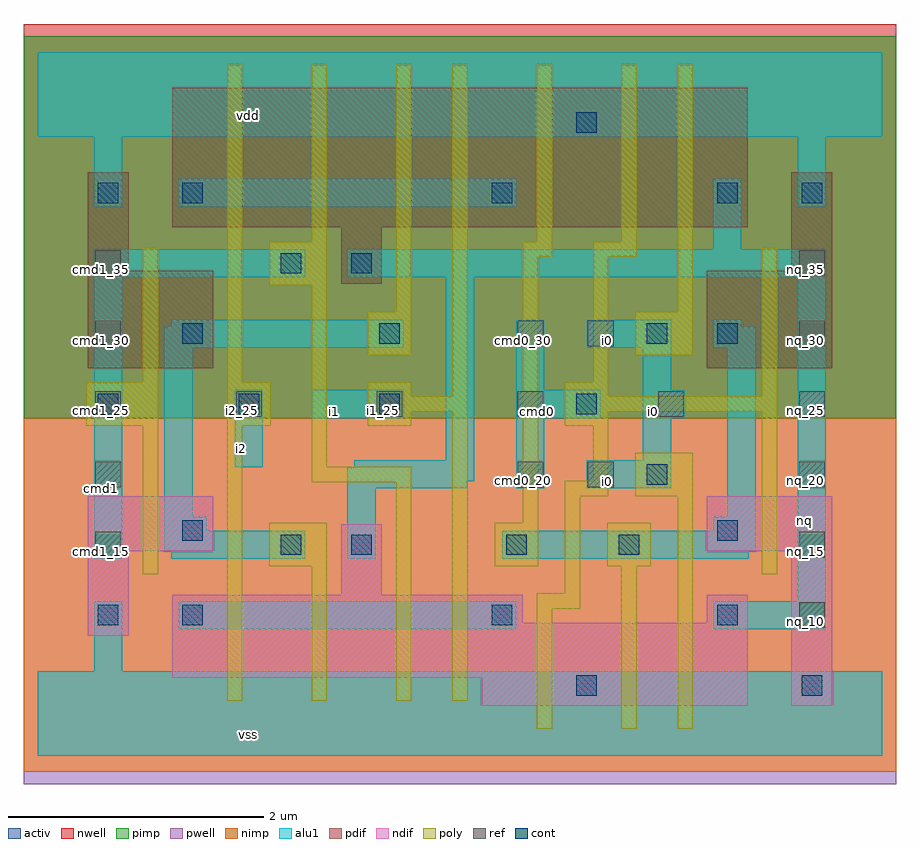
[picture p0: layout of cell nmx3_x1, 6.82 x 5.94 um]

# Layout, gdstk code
import gdstk
lib = gdstk.Library(unit=1e-6, precision=2.5e-09)
def R(c, l, rs):  # rectangles x0, y0, x1, y1
    for r in rs: c.add(gdstk.rectangle(r[:2], r[2:], *l))
def A(c, l, x, y, w, h, nx, ny, dx, dy):  # array of equal rectangles
    R(c, l, [(x+i*dx, y+j*dy, x+i*dx+w, y+j*dy+h) for i in range(nx) for j in range(ny)])
ndif = (3, 0)
pdif = (4, 0)
ref = (24, 0)
cont = (25, 0)
pwell = (41, 0)
nwell = (42, 0)
activ = (43, 0)
pimp = (44, 0)
nimp = (45, 0)
poly = (46, 0)
alu1 = (49, 0)

nmx3_x1 = lib.new_cell('nmx3_x1')
R(nmx3_x1, ndif, [(3.47,0.39,5.55,0.61), (3.47,0.39,5.55,0.61), (5.89,0.39,6.21,1.6), (5.89,0.39,6.21,1.6), (1.05,0.61,5.55,1.04), (1.05,0.61,5.55,1.04), (0.39,0.94,0.71,1.6), (0.39,0.94,0.71,1.6), (1.05,1.04,3.79,1.26), (1.05,1.04,3.79,1.26), (5.23,1.04,5.55,1.26), (5.23,1.04,5.55,1.26), (2.37,1.26,2.69,1.81), (2.37,1.26,2.69,1.81), (0.39,1.6,1.37,2.03), (0.39,1.6,1.37,2.03), (5.23,1.6,6.21,2.03), (5.23,1.6,6.21,2.03)])
R(nmx3_x1, pdif, [(0.39,3.03,1.37,3.79), (0.39,3.03,1.37,3.79), (5.23,3.03,6.21,3.79), (5.23,3.03,6.21,3.79), (2.37,3.69,2.69,4.13), (2.37,3.69,2.69,4.13), (0.39,3.79,0.71,4.56), (0.39,3.79,0.71,4.56), (5.89,3.79,6.21,4.56), (5.89,3.79,6.21,4.56), (1.05,4.13,5.55,5.22), (1.05,4.13,5.55,5.22)])
A(nmx3_x1, ref, 5.95, 1, 0.2, 0.2, 1, 3, 0, 0.55)
A(nmx3_x1, ref, 0.45, 2.65, 0.2, 0.2, 6, 1, 1.1, 0)
R(nmx3_x1, ref, [(0.45,1.55,0.65,1.75), (0.45,2.1,0.65,2.3), (3.75,2.1,3.95,2.3), (4.3,2.1,4.5,2.3), (0.45,3.2,0.65,3.4), (3.75,3.2,3.95,3.4), (4.3,3.2,4.5,3.4), (5.95,3.2,6.15,3.4), (0.45,3.75,0.65,3.95), (5.95,3.75,6.15,3.95)])
A(nmx3_x1, cont, 4.21, 0.47, 0.16, 0.16, 1, 3, 0, 2.2)
A(nmx3_x1, cont, 0.47, 2.67, 0.16, 0.16, 3, 1, 1.1, 0)
R(nmx3_x1, cont, [(5.97,0.47,6.13,0.63), (0.47,1.02,0.63,1.18), (1.13,1.02,1.29,1.18), (3.55,1.02,3.71,1.18), (5.31,1.02,5.47,1.18), (1.9,1.57,2.06,1.73), (2.45,1.57,2.61,1.73), (3.66,1.57,3.82,1.73), (4.54,1.57,4.7,1.73), (1.13,1.68,1.29,1.84), (5.31,1.68,5.47,1.84), (4.76,2.12,4.92,2.28), (1.13,3.22,1.29,3.38), (2.67,3.22,2.83,3.38), (4.76,3.22,4.92,3.38), (5.31,3.22,5.47,3.38), (1.9,3.77,2.06,3.93), (2.45,3.77,2.61,3.93), (0.47,4.32,0.63,4.48), (1.13,4.32,1.29,4.48), (3.55,4.32,3.71,4.48), (5.31,4.32,5.47,4.48), (5.97,4.32,6.13,4.48)])
R(nmx3_x1, pwell, [(-0.11,-0.22,6.71,2.64)])
R(nmx3_x1, nwell, [(-0.11,2.64,6.71,5.72)])
R(nmx3_x1, activ, [(3.47,0.39,5.55,0.61), (3.47,0.39,5.55,0.61), (5.89,0.39,6.21,1.6), (5.89,0.39,6.21,1.6), (1.05,0.61,5.55,1.04), (1.05,0.61,5.55,1.04), (0.39,0.94,0.71,1.6), (0.39,0.94,0.71,1.6), (1.05,1.04,3.79,1.26), (1.05,1.04,3.79,1.26), (5.23,1.04,5.55,1.26), (5.23,1.04,5.55,1.26), (2.37,1.26,2.69,1.81), (2.37,1.26,2.69,1.81), (0.39,1.6,1.37,2.03), (0.39,1.6,1.37,2.03), (5.23,1.6,6.21,2.03), (5.23,1.6,6.21,2.03), (0.39,3.03,1.37,3.79), (0.39,3.03,1.37,3.79), (5.23,3.03,6.21,3.79), (5.23,3.03,6.21,3.79), (2.37,3.69,2.69,4.13), (2.37,3.69,2.69,4.13), (0.39,3.79,0.71,4.56), (0.39,3.79,0.71,4.56), (5.89,3.79,6.21,4.56), (5.89,3.79,6.21,4.56), (1.05,4.13,5.55,5.22), (1.05,4.13,5.55,5.22)])
R(nmx3_x1, pimp, [(-0.11,2.64,6.71,5.625)])
R(nmx3_x1, nimp, [(-0.11,-0.125,6.71,2.64)])
R(nmx3_x1, poly, [(3.9,0.21,4.02,1.15), (4.56,0.21,4.68,1.48), (5,0.21,5.12,2.03), (1.48,0.43,1.6,2.58), (2.14,0.43,2.26,1.48), (2.8,0.43,2.92,2.14), (3.24,0.43,3.36,2.69), (3.9,1.15,4.24,1.27), (4.12,1.27,4.24,2.03), (0.82,1.42,0.94,2.58), (5.66,1.42,5.78,2.69), (1.81,1.48,2.26,1.82), (3.57,1.48,3.91,1.82), (4.45,1.48,4.79,1.82), (3.79,1.82,3.91,3.9), (4.12,2.03,4.46,2.15), (4.67,2.03,5.12,2.37), (2.14,2.14,2.92,2.26), (4.34,2.15,4.46,2.58), (2.14,2.26,2.26,3.68), (0.38,2.58,0.94,2.92), (1.48,2.58,1.82,2.92), (2.58,2.58,2.92,2.69), (4.12,2.58,4.46,2.69), (2.58,2.69,3.36,2.81), (4.12,2.69,5.78,2.81), (2.58,2.81,2.92,2.92), (3.24,2.81,3.36,5.4), (4.12,2.81,4.46,2.92), (5.66,2.81,5.78,3.97), (0.82,2.92,0.94,3.97), (1.48,2.92,1.6,5.4), (4.34,2.92,4.46,3.9), (2.58,3.13,2.92,3.47), (4.67,3.13,5.12,3.47), (2.8,3.47,2.92,5.4), (5,3.47,5.12,5.4), (1.81,3.68,2.26,4.02), (3.79,3.9,4.02,4.02), (4.34,3.9,4.68,4.02), (2.14,4.02,2.26,5.4), (3.9,4.02,4.02,5.4), (4.56,4.02,4.68,5.4)])
R(nmx3_x1, alu1, [(0,0,6.6,0.66), (0.44,0.66,0.66,1.21), (1.1,0.99,3.74,1.21), (5.28,0.99,6.16,1.21), (5.94,1.21,6.16,3.74), (0.44,1.54,0.66,3.74), (1.045,1.54,2.09,1.595), (2.42,1.54,2.64,2.09), (3.63,1.54,5.555,1.595), (0.99,1.595,2.09,1.76), (3.63,1.595,5.61,1.76), (0.99,1.76,1.32,1.87), (5.28,1.76,5.61,1.87), (0.99,1.87,1.21,3.19), (5.39,1.87,5.61,3.19), (2.42,2.09,3.355,2.145), (3.74,2.09,3.96,2.64), (4.29,2.09,4.95,2.31), (2.42,2.145,3.41,2.255), (1.54,2.255,1.76,2.86), (2.475,2.255,3.41,2.31), (3.19,2.31,3.41,3.74), (4.73,2.31,4.95,2.64), (2.145,2.64,2.86,2.86), (3.74,2.64,4.4,2.86), (4.73,2.64,5.06,2.86), (3.74,2.86,3.96,3.41), (4.73,2.86,4.95,3.19), (0.99,3.19,2.86,3.355), (4.29,3.19,4.95,3.41), (5.28,3.19,5.61,3.355), (1.045,3.355,2.86,3.41), (5.28,3.355,5.5,3.41), (0.44,3.74,2.09,3.96), (2.42,3.74,6.16,3.96), (5.28,3.96,5.5,4.51), (0.44,4.29,0.66,4.84), (1.1,4.29,3.74,4.51), (5.94,4.29,6.16,4.84), (0,4.84,6.6,5.5)])
nmx3_x1.add(gdstk.Label('vss', (1.65,0.165), layer=49, texttype=0))
nmx3_x1.add(gdstk.Label('nq', (5.995,1.8425), layer=49, texttype=0))
nmx3_x1.add(gdstk.Label('i0', (4.455,2.145), layer=49, texttype=0))
nmx3_x1.add(gdstk.Label('i0', (4.8125,2.695), layer=49, texttype=0))
nmx3_x1.add(gdstk.Label('cmd0', (3.905,2.695), layer=49, texttype=0))
nmx3_x1.add(gdstk.Label('i0', (4.455,3.245), layer=49, texttype=0))
nmx3_x1.add(gdstk.Label('i1', (2.3225,2.695), layer=49, texttype=0))
nmx3_x1.add(gdstk.Label('i2', (1.595,2.405), layer=49, texttype=0))
nmx3_x1.add(gdstk.Label('cmd1', (0.495,2.09), layer=49, texttype=0))
nmx3_x1.add(gdstk.Label('vdd', (1.65,5.005), layer=49, texttype=0))
nmx3_x1.add(gdstk.Label('nq_10', (6,1.05), layer=24, texttype=0))
nmx3_x1.add(gdstk.Label('nq_30', (6,3.25), layer=24, texttype=0))
nmx3_x1.add(gdstk.Label('nq_25', (6,2.7), layer=24, texttype=0))
nmx3_x1.add(gdstk.Label('nq_20', (6,2.15), layer=24, texttype=0))
nmx3_x1.add(gdstk.Label('nq_15', (6,1.6), layer=24, texttype=0))
nmx3_x1.add(gdstk.Label('nq_35', (6,3.8), layer=24, texttype=0))
nmx3_x1.add(gdstk.Label('cmd1_15', (0.5,1.6), layer=24, texttype=0))
nmx3_x1.add(gdstk.Label('cmd1_20', (0.5,2.15), layer=24, texttype=0))
nmx3_x1.add(gdstk.Label('cmd1_25', (0.5,2.7), layer=24, texttype=0))
nmx3_x1.add(gdstk.Label('cmd1_30', (0.5,3.25), layer=24, texttype=0))
nmx3_x1.add(gdstk.Label('cmd1_35', (0.5,3.8), layer=24, texttype=0))
nmx3_x1.add(gdstk.Label('i2_25', (1.6,2.7), layer=24, texttype=0))
nmx3_x1.add(gdstk.Label('i1_25', (2.7,2.7), layer=24, texttype=0))
nmx3_x1.add(gdstk.Label('cmd0_20', (3.8,2.15), layer=24, texttype=0))
nmx3_x1.add(gdstk.Label('cmd0_25', (3.8,2.7), layer=24, texttype=0))
nmx3_x1.add(gdstk.Label('cmd0_30', (3.8,3.25), layer=24, texttype=0))
nmx3_x1.add(gdstk.Label('i0_20', (4.35,2.15), layer=24, texttype=0))
nmx3_x1.add(gdstk.Label('i0_30', (4.35,3.25), layer=24, texttype=0))
nmx3_x1.add(gdstk.Label('i0_25', (4.9,2.7), layer=24, texttype=0))

lib.write_gds('nmx3_x1.gds')
